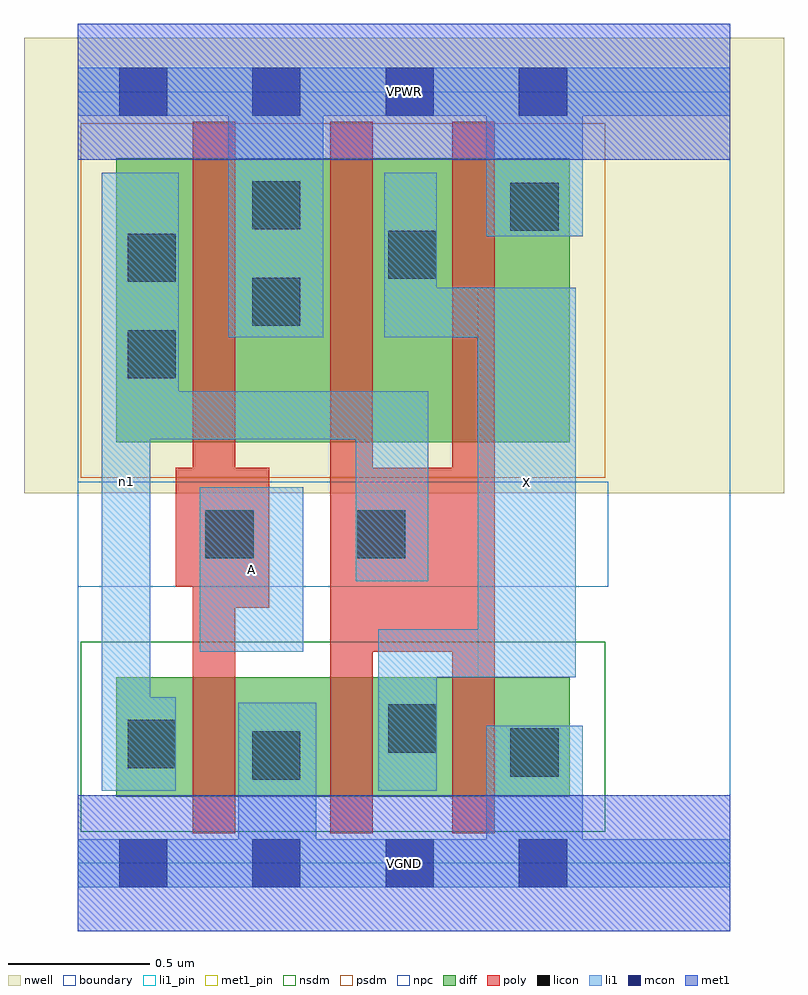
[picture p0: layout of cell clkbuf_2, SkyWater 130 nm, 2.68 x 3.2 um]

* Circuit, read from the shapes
.subckt clkbuf_2 A VGND VPWR X n1
XM1 VGND A n1 VSUBS sky130_fd_pr__nfet_01v8 w=0.42 l=0.15
XM2 X n1 VGND VSUBS sky130_fd_pr__nfet_01v8 w=0.42 l=0.15 m=2
XM3 VPWR A n1 n2 sky130_fd_pr__pfet_01v8 w=1 l=0.15
XM4 X n1 VPWR n2 sky130_fd_pr__pfet_01v8 w=1 l=0.15 m=2
.ends

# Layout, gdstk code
import gdstk
lib = gdstk.Library(unit=1e-6, precision=1e-09)
def R(c, l, rs):  # rectangles x0, y0, x1, y1
    for r in rs: c.add(gdstk.rectangle(r[:2], r[2:], *l))
def A(c, l, x, y, w, h, nx, ny, dx, dy):  # array of equal rectangles
    R(c, l, [(x+i*dx, y+j*dy, x+i*dx+w, y+j*dy+h) for i in range(nx) for j in range(ny)])
nwell = (64, 20)
diff = (65, 20)
poly = (66, 20)
licon = (66, 44)
li1_pin = (67, 16)
li1 = (67, 20)
mcon = (67, 44)
met1_pin = (68, 16)
met1 = (68, 20)
nsdm = (93, 44)
psdm = (94, 20)
npc = (95, 20)
boundary = (235, 4)

clkbuf_2 = lib.new_cell('clkbuf_2')
R(clkbuf_2, nwell, [(-0.19,1.305,2.49,2.91), (0,1.305,2.3,2.91)])
R(clkbuf_2, diff, [(0.135,0.235,1.735,0.655), (0.135,1.485,1.735,2.485)])
R(clkbuf_2, poly, [(0.405,0.105,0.555,2.615), (0.89,0.105,1.04,2.615), (1.32,0.105,1.47,2.615), (0.89,0.745,1.47,1.395), (0.405,0.9,0.675,1.395), (0.345,0.975,0.675,1.395)])
R(clkbuf_2, licon, [(0.615,0.295,0.785,0.465), (1.525,0.305,1.695,0.475), (0.175,0.335,0.345,0.505), (1.095,0.39,1.265,0.56), (0.45,1.075,0.62,1.245), (0.985,1.075,1.155,1.245), (0.175,1.71,0.345,1.88), (0.615,1.895,0.785,2.065), (0.175,2.05,0.345,2.22), (1.095,2.06,1.265,2.23), (1.525,2.23,1.695,2.4), (0.615,2.235,0.785,2.405)])
R(clkbuf_2, li1_pin, [(1.41,0.655,1.755,2.03), (0.43,0.745,0.795,1.325)])
R(clkbuf_2, li1, [(0,-0.085,2.3,0.085), (0.565,-0.085,0.84,0.565), (1.44,-0.085,1.78,0.485), (0.085,0.255,0.255,2.435), (0.085,0.255,0.345,0.585), (1.06,0.255,1.265,0.825), (1.06,0.655,1.755,0.825), (1.41,0.655,1.755,2.03), (0.43,0.745,0.795,1.325), (0.98,0.995,1.235,1.665), (0.085,1.495,1.235,1.665), (0.085,1.495,0.355,2.435), (0.53,1.855,0.865,2.805), (1.08,1.855,1.265,2.435), (1.08,1.855,1.755,2.03), (1.44,2.21,1.78,2.805), (0,2.635,2.3,2.805)])
A(clkbuf_2, mcon, 0.145, -0.085, 0.17, 0.17, 4, 2, 0.47, 2.72)
R(clkbuf_2, met1_pin, [(0,-0.24,2.3,0.24), (0,2.48,2.3,2.96)])
R(clkbuf_2, met1, [(0,-0.24,2.3,0.24), (0,2.48,2.3,2.96)])
R(clkbuf_2, nsdm, [(0.01,0.11,1.86,0.78)])
R(clkbuf_2, psdm, [(0.01,1.36,1.86,2.61)])
R(clkbuf_2, npc, [(0,0.975,1.87,1.345)])
R(clkbuf_2, boundary, [(0,0,2.3,2.72)])
clkbuf_2.add(gdstk.Label('A', (0.612,1.035), layer=67, texttype=5))
clkbuf_2.add(gdstk.Label('X', (1.582,1.342), layer=67, texttype=5))
clkbuf_2.add(gdstk.Label('n1', (0.17,1.345), layer=67, texttype=5))
clkbuf_2.add(gdstk.Label('VPWR', (1.15,2.72), layer=68, texttype=5))
clkbuf_2.add(gdstk.Label('VGND', (1.15,0), layer=68, texttype=5))
clkbuf_2.add(gdstk.Label('A', (0.612,1.035), layer=67, texttype=16))
clkbuf_2.add(gdstk.Label('X', (1.582,1.342), layer=67, texttype=16))
clkbuf_2.add(gdstk.Label('VPWR', (1.15,2.72), layer=68, texttype=16))
clkbuf_2.add(gdstk.Label('VGND', (1.15,0), layer=68, texttype=16))

lib.write_gds('clkbuf_2.gds')
